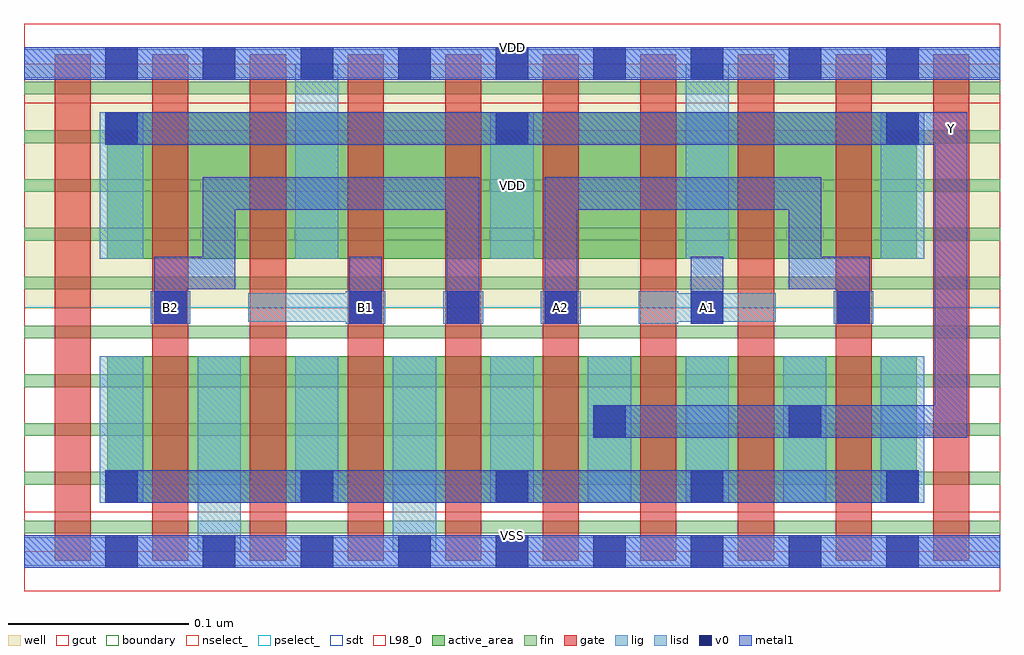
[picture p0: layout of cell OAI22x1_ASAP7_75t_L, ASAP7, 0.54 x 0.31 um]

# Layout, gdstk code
import gdstk
lib = gdstk.Library(unit=1e-6, precision=2.5e-10)
def R(c, l, rs):  # rectangles x0, y0, x1, y1
    for r in rs: c.add(gdstk.rectangle(r[:2], r[2:], *l))
def A(c, l, x, y, w, h, nx, ny, dx, dy):  # array of equal rectangles
    R(c, l, [(x+i*dx, y+j*dy, x+i*dx+w, y+j*dy+h) for i in range(nx) for j in range(ny)])
def P(c, l, *ps):  # polygons
    for p in ps: c.add(gdstk.Polygon(p, *l))
well = (1, 0)
fin = (2, 0)
gate = (7, 0)
gcut = (10, 0)
active_area = (11, 0)
nselect_ = (12, 0)
pselect_ = (13, 0)
lig = (16, 0)
lisd = (17, 0)
v0 = (18, 0)
metal1 = (19, 0)
sdt = (88, 0)
L98_0 = (98, 0)
boundary = (100, 0)

oai22x1_asap7_75t_l = lib.new_cell('OAI22x1_ASAP7_75t_L')
R(oai22x1_asap7_75t_l, well, [(0,0.135,0.54,0.27)])
A(oai22x1_asap7_75t_l, fin, 0, 0.01, 0.54, 0.007, 1, 10, 0, 0.027)
A(oai22x1_asap7_75t_l, gate, 0.017, -0.005, 0.02, 0.28, 10, 1, 0.054, 0)
R(oai22x1_asap7_75t_l, gcut, [(0,-0.022,0.54,0.022), (0,0.248,0.54,0.292)])
R(oai22x1_asap7_75t_l, active_area, [(0.046,0.027,0.494,0.108), (0.046,0.162,0.494,0.243)])
R(oai22x1_asap7_75t_l, nselect_, [(0,0,0.54,0.135)])
R(oai22x1_asap7_75t_l, pselect_, [(0,0.135,0.54,0.27)])
A(oai22x1_asap7_75t_l, lig, 0.178, 0.126, 0.022, 0.018, 4, 1, 0.054, 0)
R(oai22x1_asap7_75t_l, lig, [(0,-0.008,0.54,0.008), (0.07,0.126,0.092,0.144), (0.448,0.126,0.47,0.144), (0.124,0.127,0.2,0.143), (0.34,0.127,0.416,0.143), (0,0.262,0.54,0.278)])
A(oai22x1_asap7_75t_l, lisd, 0.042, 0.027, 0.024, 0.081, 3, 1, 0.108, 0)
A(oai22x1_asap7_75t_l, lisd, 0.312, 0.027, 0.024, 0.081, 4, 1, 0.054, 0)
A(oai22x1_asap7_75t_l, lisd, 0.042, 0.162, 0.024, 0.081, 3, 1, 0.216, 0)
R(oai22x1_asap7_75t_l, lisd, [(0.096,0,0.12,0.108), (0.096,0,0.12,0.108), (0.204,0,0.228,0.108), (0.204,0,0.228,0.108), (0.15,0.162,0.174,0.27), (0.15,0.162,0.174,0.27), (0.366,0.162,0.39,0.27), (0.366,0.162,0.39,0.27)])
A(oai22x1_asap7_75t_l, v0, 0.045, -0.009, 0.018, 0.018, 9, 2, 0.054, 0.27)
A(oai22x1_asap7_75t_l, v0, 0.045, 0.027, 0.018, 0.018, 5, 1, 0.108, 0)
A(oai22x1_asap7_75t_l, v0, 0.18, 0.126, 0.018, 0.018, 3, 1, 0.054, 0)
A(oai22x1_asap7_75t_l, v0, 0.045, 0.225, 0.018, 0.018, 3, 1, 0.216, 0)
R(oai22x1_asap7_75t_l, v0, [(0.315,0.063,0.333,0.081), (0.423,0.063,0.441,0.081), (0.072,0.126,0.09,0.144), (0.369,0.126,0.387,0.144), (0.45,0.126,0.468,0.144)])
A(oai22x1_asap7_75t_l, metal1, 0.045, 0.027, 0.018, 0.018, 5, 1, 0.108, 0)
A(oai22x1_asap7_75t_l, metal1, 0.18, 0.126, 0.018, 0.018, 3, 1, 0.054, 0)
A(oai22x1_asap7_75t_l, metal1, 0.045, 0.225, 0.018, 0.018, 3, 1, 0.216, 0)
R(oai22x1_asap7_75t_l, metal1, [(0,-0.009,0.54,0.009), (0.045,0.027,0.495,0.045), (0.315,0.063,0.333,0.081), (0.423,0.063,0.441,0.081), (0.072,0.126,0.09,0.144), (0.18,0.126,0.198,0.163), (0.369,0.126,0.387,0.144), (0.369,0.126,0.387,0.163), (0.45,0.126,0.468,0.144), (0,0.261,0.54,0.279)])
P(oai22x1_asap7_75t_l, metal1, [(0.045,0.243),(0.045,0.225),(0.504,0.225),(0.504,0.081),(0.315,0.081),(0.315,0.063),(0.522,0.063),(0.522,0.243)],
  [(0.252,0.126),(0.252,0.207),(0.099,0.207),(0.099,0.163),(0.072,0.163),(0.072,0.126),(0.09,0.126),(0.09,0.145),(0.117,0.145),(0.117,0.189),(0.234,0.189),(0.234,0.126)],
  [(0.45,0.126),(0.468,0.126),(0.468,0.163),(0.441,0.163),(0.441,0.207),(0.288,0.207),(0.288,0.126),(0.306,0.126),(0.306,0.189),(0.423,0.189),(0.423,0.145),(0.45,0.145)])
A(oai22x1_asap7_75t_l, sdt, 0.096, 0.027, 0.024, 0.081, 3, 1, 0.054, 0)
A(oai22x1_asap7_75t_l, sdt, 0.204, 0.027, 0.024, 0.081, 6, 1, 0.054, 0)
A(oai22x1_asap7_75t_l, sdt, 0.15, 0.162, 0.024, 0.081, 3, 1, 0.108, 0)
R(oai22x1_asap7_75t_l, sdt, [(0.042,0.027,0.066,0.108), (0.096,0.027,0.12,0.108), (0.042,0.162,0.066,0.243), (0.15,0.162,0.174,0.243), (0.366,0.162,0.39,0.243), (0.474,0.162,0.498,0.243)])
R(oai22x1_asap7_75t_l, L98_0, [(0,0,0.54,0.27)])
R(oai22x1_asap7_75t_l, boundary, [(0,0,0.54,0.27)])
oai22x1_asap7_75t_l.add(gdstk.Label('VDD', (0.27,0.2025), layer=1, texttype=251))
oai22x1_asap7_75t_l.add(gdstk.Label('VSS', (0.27,-0.0675), layer=3, texttype=251))
oai22x1_asap7_75t_l.add(gdstk.Label('VSS', (0.27,0.009), layer=19, texttype=251))
oai22x1_asap7_75t_l.add(gdstk.Label('VDD', (0.27,0.279), layer=19, texttype=251))
oai22x1_asap7_75t_l.add(gdstk.Label('Y', (0.513,0.234), layer=19, texttype=251))
oai22x1_asap7_75t_l.add(gdstk.Label('B2', (0.081,0.135), layer=19, texttype=251))
oai22x1_asap7_75t_l.add(gdstk.Label('B1', (0.189,0.135), layer=19, texttype=251))
oai22x1_asap7_75t_l.add(gdstk.Label('A2', (0.297,0.135), layer=19, texttype=251))
oai22x1_asap7_75t_l.add(gdstk.Label('A1', (0.378,0.135), layer=19, texttype=251))

lib.write_gds('OAI22x1_ASAP7_75t_L.gds')
